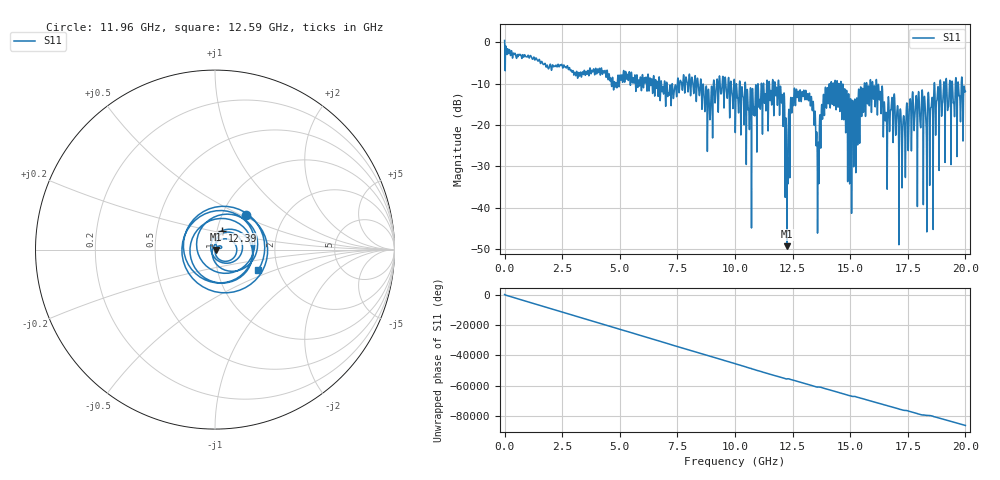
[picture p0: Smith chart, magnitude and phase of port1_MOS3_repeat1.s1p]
! MS46122B
! 2250307/22442219
! 7/26/2025 10:30:17 AM
! C:\USERS\SPARKY\DOCUMENTS\VNA_DATA\JULY26_2025\295K\PORT1_MOS3_REPEAT1.S1P
! CHANNEL.1
! TR.MEASUREMENT
! RAW.DATA
# GHZ S RI R 50.0
! FREQ.GHZ  S11RE  S11IM
!; PortSelection: Port_1
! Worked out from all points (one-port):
!   10001 points, 1 MHz to 20 GHz, reference 50 ohm
!   lowest |S11| = -49.3 dB at 12.25 GHz (marker M1), VSWR 1.01, Z = 50.3 + j0.0526 ohm
!   |S11| at or under -10 dB: 11.9 GHz to 14.17 GHz (2.264 GHz wide, 17.4 % of centre); 14.61 GHz to 15.62 GHz (1.01 GHz wide, 6.69 % of centre); 16.15 GHz to 18.65 GHz (2.496 GHz wide, 14.3 % of centre) (the widest 3 of 68)
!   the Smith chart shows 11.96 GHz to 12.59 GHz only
!   S11 on the Smith chart (normalised r, x): 11.96 GHz: 1.29, +0.53; 12.39 GHz: 1.05, +0.22; 12.59 GHz: 1.58, -0.39
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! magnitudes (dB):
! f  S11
! 1 MHz  0.4
! 2.501 GHz  -5.7
! 5.001 GHz  -8.2
! 7.501 GHz  -9.8
! 8.443 GHz  -12.6
! 8.867 GHz  -12.6
! 9.399 GHz  -12.5
! 10 GHz  -15.3
! 10.65 GHz  -14.6
! 11.96 GHz  -11.8
! 12.25 GHz  -49.3
! 12.39 GHz  -19.1
! 12.5 GHz  -13.4
! 12.59 GHz  -11.5
! 13.31 GHz  -13.2
! 13.58 GHz  -46.1
! 14.01 GHz  -11.0
! 14.51 GHz  -10.0
! 15 GHz  -16.2
! 16.05 GHz  -10.7
! 16.52 GHz  -19.0
! 16.99 GHz  -21.6
! 17.19 GHz  -16.5
! 17.5 GHz  -20.7
! 18.05 GHz  -20.2
! 18.38 GHz  -12.8
! 18.73 GHz  -16.6
! 20 GHz  -11.9
